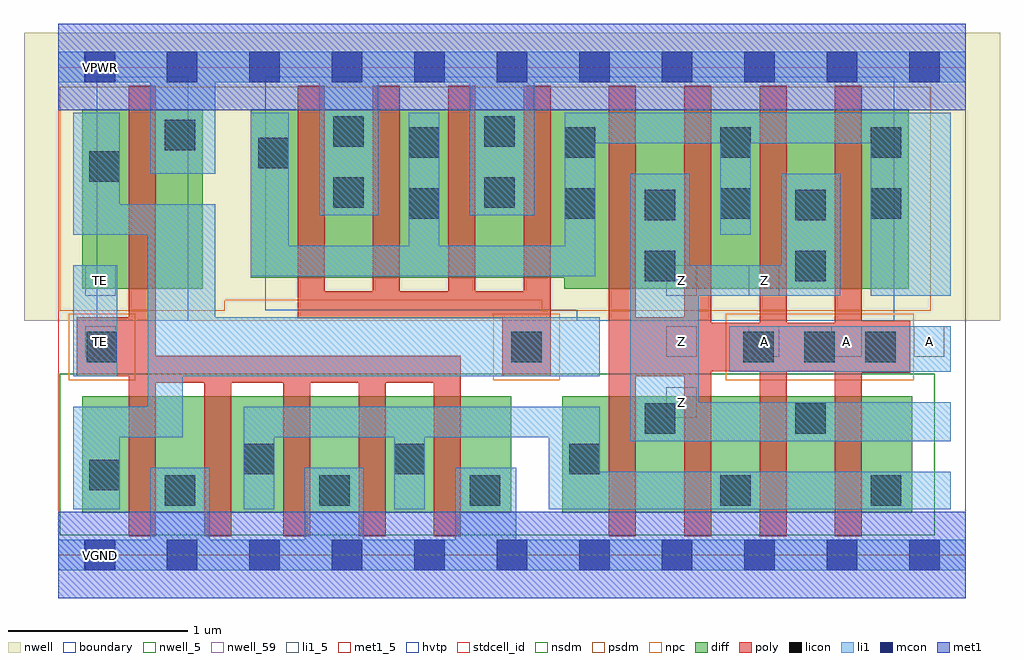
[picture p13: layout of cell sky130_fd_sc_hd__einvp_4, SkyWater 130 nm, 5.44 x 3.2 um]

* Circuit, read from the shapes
.subckt sky130_fd_sc_hd__einvp_4 A TE VGND VNB VPB VPWR Z
XM1 VGND TE n1 VNB sky130_fd_pr__nfet_01v8 w=0.65 l=0.15
XM2 n2 TE VGND VNB sky130_fd_pr__nfet_01v8 w=0.65 l=0.15 m=4
XM3 Z A n2 VNB sky130_fd_pr__nfet_01v8 w=0.65 l=0.15 m=4
XM4 VPWR TE n1 VPB sky130_fd_pr__pfet_01v8_hvt w=1 l=0.15
XM5 VPWR n1 n3 VPB sky130_fd_pr__pfet_01v8_hvt w=0.94 l=0.15 m=4
XM6 Z A n3 VPB sky130_fd_pr__pfet_01v8_hvt w=1 l=0.15 m=4
.ends

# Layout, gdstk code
import gdstk
lib = gdstk.Library(unit=1e-6, precision=1e-09)
def R(c, l, rs):  # rectangles x0, y0, x1, y1
    for r in rs: c.add(gdstk.rectangle(r[:2], r[2:], *l))
def A(c, l, x, y, w, h, nx, ny, dx, dy):  # array of equal rectangles
    R(c, l, [(x+i*dx, y+j*dy, x+i*dx+w, y+j*dy+h) for i in range(nx) for j in range(ny)])
nwell_5 = (64, 5)
nwell = (64, 20)
nwell_59 = (64, 59)
diff = (65, 20)
poly = (66, 20)
licon = (66, 44)
li1_5 = (67, 5)
li1 = (67, 20)
mcon = (67, 44)
met1_5 = (68, 5)
met1 = (68, 20)
hvtp = (78, 44)
stdcell_id = (81, 4)
nsdm = (93, 44)
psdm = (94, 20)
npc = (95, 20)
boundary = (235, 4)

sky130_fd_sc_hd__einvp_4 = lib.new_cell('sky130_fd_sc_hd__einvp_4')
R(sky130_fd_sc_hd__einvp_4, nwell_5, [(0.15,2.635,0.32,2.805)])
R(sky130_fd_sc_hd__einvp_4, nwell, [(-0.19,1.305,5.25,2.91)])
R(sky130_fd_sc_hd__einvp_4, nwell_59, [(0.15,-0.085,0.32,0.085)])
R(sky130_fd_sc_hd__einvp_4, diff, [(0.135,0.235,2.525,0.885), (2.81,0.235,4.76,0.885), (0.135,1.485,0.805,2.485), (2.82,1.485,4.74,1.545), (1.075,1.545,4.74,2.485)])
A(sky130_fd_sc_hd__einvp_4, poly, 1.255, 0.105, 0.15, 0.855, 3, 1, 0.42, 0)
A(sky130_fd_sc_hd__einvp_4, poly, 1.335, 1.47, 0.15, 1.145, 4, 1, 0.42, 0)
R(sky130_fd_sc_hd__einvp_4, poly, [(0.395,0.105,0.545,0.96), (0.815,0.105,0.965,0.96), (3.07,0.105,3.22,0.995), (3.49,0.105,3.64,0.995), (3.91,0.105,4.06,1.025), (4.33,0.105,4.48,1.015), (0.395,0.96,2.245,0.995), (0.105,0.995,2.245,1.11), (2.475,0.995,2.745,1.32), (3.07,0.995,3.64,1.025), (4.33,1.015,4.75,1.025), (3.07,1.025,4.75,1.295), (0.105,1.11,0.545,1.325), (3.07,1.295,3.64,1.325), (3.91,1.295,4.06,2.615), (4.33,1.295,4.75,1.305), (4.33,1.305,4.48,2.615), (1.335,1.32,2.745,1.47), (0.395,1.325,0.545,2.615), (3.07,1.325,3.22,2.615), (3.49,1.325,3.64,2.615)])
A(sky130_fd_sc_hd__einvp_4, licon, 3.82, 1.075, 0.17, 0.17, 3, 1, 0.34, 0)
R(sky130_fd_sc_hd__einvp_4, licon, [(0.595,0.275,0.765,0.445), (1.455,0.275,1.625,0.445), (2.295,0.275,2.465,0.445), (3.69,0.275,3.86,0.445), (4.53,0.275,4.7,0.445), (0.175,0.36,0.345,0.53), (1.035,0.45,1.205,0.62), (1.875,0.45,2.045,0.62), (2.85,0.45,3.02,0.62), (3.27,0.675,3.44,0.845), (4.11,0.675,4.28,0.845), (0.16,1.075,0.33,1.245), (2.525,1.075,2.695,1.245), (3.27,1.525,3.44,1.695), (4.11,1.525,4.28,1.695), (3.27,1.865,3.44,2.035), (4.11,1.865,4.28,2.035), (1.955,1.875,2.125,2.045), (2.825,1.875,2.995,2.045), (3.69,1.875,3.86,2.045), (4.53,1.875,4.7,2.045), (1.535,1.935,1.705,2.105), (2.375,1.935,2.545,2.105), (0.175,2.08,0.345,2.25), (1.115,2.155,1.285,2.325), (1.955,2.215,2.125,2.385), (2.825,2.215,2.995,2.385), (3.69,2.215,3.86,2.385), (4.53,2.215,4.7,2.385), (0.595,2.255,0.765,2.425), (1.535,2.275,1.705,2.445), (2.375,2.275,2.545,2.445)])
A(sky130_fd_sc_hd__einvp_4, li1_5, 3.39, 1.105, 0.17, 0.17, 4, 1, 0.46, 0)
R(sky130_fd_sc_hd__einvp_4, li1_5, [(3.39,0.765,3.56,0.935), (0.15,1.105,0.32,1.275), (0.15,1.445,0.32,1.615), (3.39,1.445,3.56,1.615), (3.85,1.445,4.02,1.615)])
R(sky130_fd_sc_hd__einvp_4, li1, [(0,-0.085,5.06,0.085), (0.515,0.085,0.845,0.485), (1.375,0.085,1.705,0.485), (2.215,0.085,2.555,0.485), (0.085,0.255,0.345,0.655), (1.035,0.255,1.205,0.655), (1.875,0.255,2.045,0.655), (2.735,0.255,4.975,0.465), (2.735,0.465,3.02,0.655), (3.19,0.635,4.975,0.85), (0.085,0.655,0.695,0.825), (1.035,0.655,3.02,0.825), (0.5,0.825,0.695,0.995), (3.19,0.85,3.57,1.445), (0.085,0.995,0.33,1.615), (0.5,0.995,3.02,1.325), (3.74,1.02,4.975,1.275), (0.5,1.325,0.875,1.785), (3.19,1.445,4.36,1.615), (4.53,1.445,4.975,2.295), (1.075,1.555,2.995,1.725), (3.19,1.615,3.52,2.125), (4.03,1.615,4.36,2.125), (1.075,1.725,1.285,2.465), (1.955,1.725,2.125,2.465), (2.825,1.725,2.995,2.295), (0.085,1.785,0.875,1.955), (3.69,1.785,3.86,2.295), (1.455,1.895,1.785,2.635), (2.295,1.895,2.655,2.635), (0.085,1.955,0.345,2.465), (0.515,2.125,0.875,2.635), (2.825,2.295,4.975,2.465), (0,2.635,5.06,2.805)])
A(sky130_fd_sc_hd__einvp_4, mcon, 0.145, -0.085, 0.17, 0.17, 11, 2, 0.46, 2.72)
R(sky130_fd_sc_hd__einvp_4, met1_5, [(0.15,-0.085,0.32,0.085), (0.15,2.635,0.32,2.805)])
R(sky130_fd_sc_hd__einvp_4, met1, [(0,-0.24,5.06,0.24), (0,2.48,5.06,2.96)])
R(sky130_fd_sc_hd__einvp_4, hvtp, [(0.215,1.305,0.725,2.665), (2.89,1.305,4.66,1.365), (1.155,1.365,4.66,2.665)])
R(sky130_fd_sc_hd__einvp_4, stdcell_id, [(0,0,5.06,2.72)])
R(sky130_fd_sc_hd__einvp_4, nsdm, [(0.01,0.11,4.885,1.01)])
R(sky130_fd_sc_hd__einvp_4, psdm, [(0.01,1.36,0.93,1.42), (2.695,1.36,4.865,1.42), (0.01,1.42,4.865,2.61)])
R(sky130_fd_sc_hd__einvp_4, npc, [(0.06,0.975,0.43,1.345), (2.425,0.975,2.795,1.345), (3.72,0.975,4.77,1.345)])
R(sky130_fd_sc_hd__einvp_4, boundary, [(0,0,5.06,2.72)])
sky130_fd_sc_hd__einvp_4.add(gdstk.Label('TE', (0.235,1.53), layer=67, texttype=5))
sky130_fd_sc_hd__einvp_4.add(gdstk.Label('TE', (0.235,1.19), layer=67, texttype=5))
sky130_fd_sc_hd__einvp_4.add(gdstk.Label('A', (4.855,1.19), layer=67, texttype=5))
sky130_fd_sc_hd__einvp_4.add(gdstk.Label('A', (4.395,1.19), layer=67, texttype=5))
sky130_fd_sc_hd__einvp_4.add(gdstk.Label('A', (3.935,1.19), layer=67, texttype=5))
sky130_fd_sc_hd__einvp_4.add(gdstk.Label('Z', (3.935,1.53), layer=67, texttype=5))
sky130_fd_sc_hd__einvp_4.add(gdstk.Label('Z', (3.475,1.53), layer=67, texttype=5))
sky130_fd_sc_hd__einvp_4.add(gdstk.Label('Z', (3.475,0.85), layer=67, texttype=5))
sky130_fd_sc_hd__einvp_4.add(gdstk.Label('Z', (3.475,1.19), layer=67, texttype=5))
sky130_fd_sc_hd__einvp_4.add(gdstk.Label('VPWR', (0.235,2.72), layer=68, texttype=5))
sky130_fd_sc_hd__einvp_4.add(gdstk.Label('VGND', (0.235,0), layer=68, texttype=5))
sky130_fd_sc_hd__einvp_4.add(gdstk.Label('VPB', (0.235,2.72), layer=64, texttype=5))
sky130_fd_sc_hd__einvp_4.add(gdstk.Label('VNB', (0.235,0), layer=64, texttype=59))

lib.write_gds('sky130_fd_sc_hd__einvp_4.gds')
